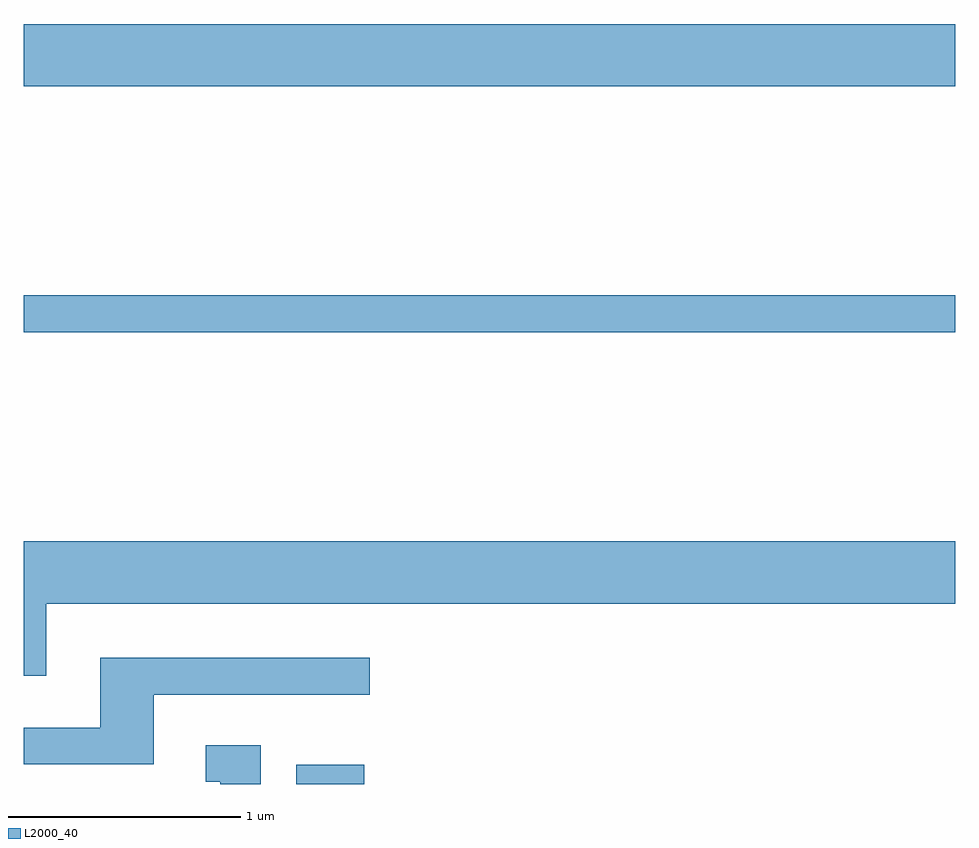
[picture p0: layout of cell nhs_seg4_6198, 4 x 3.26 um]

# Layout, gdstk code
import gdstk
lib = gdstk.Library(unit=1e-6, precision=1e-09)
def R(c, l, rs):  # rectangles x0, y0, x1, y1
    for r in rs: c.add(gdstk.rectangle(r[:2], r[2:], *l))
def P(c, l, *ps):  # polygons
    for p in ps: c.add(gdstk.Polygon(p, *l))
L2000_40 = (2000, 40)

nhs_seg4_6198 = lib.new_cell('nhs_seg4_6198')
R(nhs_seg4_6198, L2000_40, [(368.781,1273.982,369.074,1274.064), (367.611,1275.921,371.611,1276.079), (367.611,1276.976,371.611,1277.244)])
P(nhs_seg4_6198, L2000_40, [(367.709,1274.756),(371.611,1274.756),(371.611,1275.024),(367.611,1275.024),(367.611,1274.446),(367.709,1274.446)],
  [(368.169,1274.366),(369.098,1274.366),(369.098,1274.524),(367.941,1274.524),(367.941,1274.224),(367.611,1274.224),(367.611,1274.066),(368.169,1274.066)],
  [(368.629,1274.149),(368.393,1274.149),(368.393,1273.991),(368.456,1273.991),(368.456,1273.982),(368.629,1273.982)])

lib.write_gds('nhs_seg4_6198.gds')
